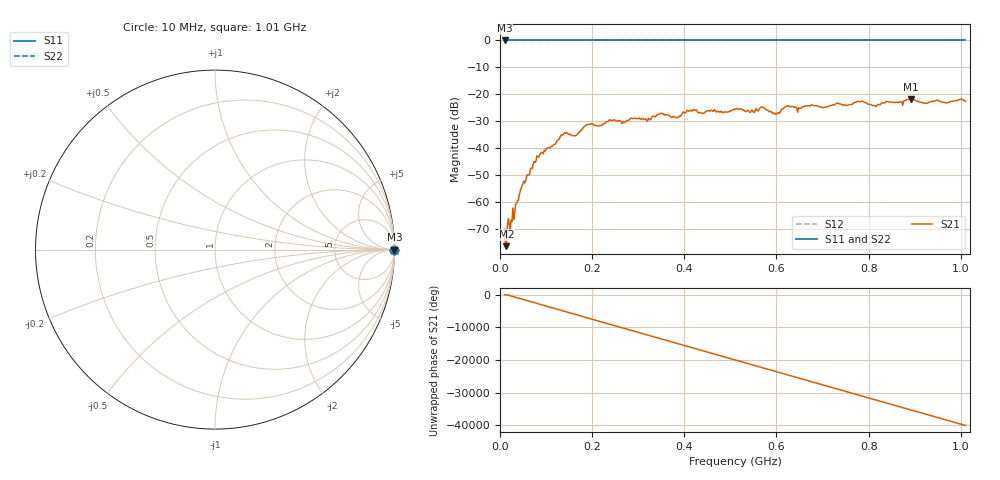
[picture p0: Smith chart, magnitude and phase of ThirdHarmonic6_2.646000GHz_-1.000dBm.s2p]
! 8/17/2025 6:00:40 AM
! C:\ANRITSUVNA\TEMP\TEMP.S2P
! CHANNEL.1
! TR.MEASUREMENT
! RAW.DATA
! RF.CORRECTION.OFF
! AVERAGING.OFF
! IF.BANDWIDTH: 5KHZ
! SWEEPTYPE:  FREQ.SWEEP(Linear)
! Reference Plane Port Info
! PORT:  PORT1  PORT2
! DISTANCE:  0  m  0  m
! TIME:  0  s  0  s
! PHASE.OFFSET:  0  deg.  0  deg.
! LOSS:  0  dB  0  dB
! REF.LOSS:  0  dB  0  dB
! REF.FREQ:  0  Hz  0  Hz
! Power Info
! POWER:  -20  dBm  -20  dBm
! EFF.POWER:  -20  dBm  -20  dBm
! SOURCE.ATTEN:  0  dB  0  dB
! TEST.ATTEN:  0  dB  0  dB
# GHZ S RI R 50.0
! FREQ.GHZ  S11RE  S11IM  S21RE  S21IM  S12RE  S12IM  S22RE  S22IM
!; PortSelection: Port_12
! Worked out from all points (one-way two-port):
!   501 points, 10 MHz to 1.01 GHz, reference 50 ohm
!   highest |S21| = -21.72 dB at 892 MHz (marker M1); lowest = -76.3 dB at 14 MHz (marker M2)
!   lowest |S11| = 0.0 dB at 10 MHz (marker M3)
!   |S11| at or under -10 dB: nowhere
!   |S22| runs from 0.0 to 0.0 dB; largest |S21 - S12| = 1.1
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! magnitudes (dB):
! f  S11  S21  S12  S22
! 10 MHz  0.0  -70.0  0.0  0.0
! 14 MHz  0.0  -76.3  0.0  0.0
! 26 MHz  0.0  -67.2  0.0  0.0
! 48 MHz  0.0  -53.8  0.0  0.0
! 84 MHz  0.0  -43.2  0.0  0.0
! 136 MHz  0.0  -35.1  0.0  0.0
! 164 MHz  0.0  -35.4  0.0  0.0
! 178 MHz  0.0  -33.0  0.0  0.0
! 240 MHz  0.0  -29.6  0.0  0.0
! 322 MHz  0.0  -28.9  0.0  0.0
! 344 MHz  0.0  -27.5  0.0  0.0
! 384 MHz  0.0  -28.6  0.0  0.0
! 410 MHz  0.0  -26.3  0.0  0.0
! 510 MHz  0.0  -25.6  0.0  0.0
! 570 MHz  0.0  -24.8  0.0  0.0
! 596 MHz  0.0  -26.9  0.0  0.0
! 622 MHz  0.0  -24.5  0.0  0.0
! 678 MHz  0.0  -24.0  0.0  0.0
! 844 MHz  0.0  -22.9  0.0  0.0
! 892 MHz  0.0  -21.7  0.0  0.0
! 924 MHz  0.0  -23.2  0.0  0.0
! 1.01 GHz  0.0  -22.6  0.0  0.0
